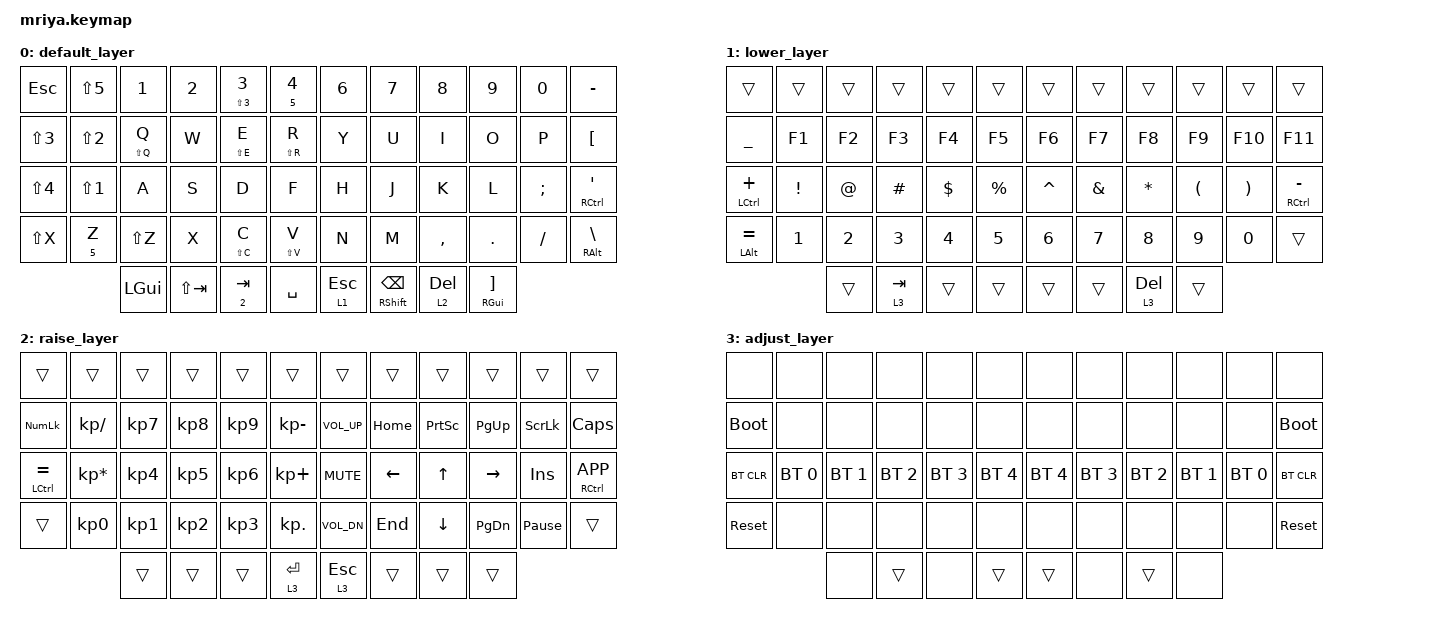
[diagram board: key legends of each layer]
/*
 * Copyright (c) 2023 Andrei Gaevskii
 *
 * SPDX-License-Identifier: MIT
 */

#include <behaviors.dtsi>
#include <dt-bindings/zmk/bt.h>
#include <dt-bindings/zmk/keys.h>

#define DEF 0
#define LWR 1
#define RSE 2
#define ADJ 3

&lt { quick_tap_ms = <200>; };

&mt { quick_tap_ms = <200>; };

/ {
    keymap {
        compatible = "zmk,keymap";

        default_layer {
            bindings = <
  &kp ESCAPE        &kp LS(N5)        &kp NUMBER_1  &kp NUMBER_2  &mt LS(NUMBER_3) NUMBER_3  &mt N5 NUMBER_4    &kp N6     &kp N7          &kp N8     &kp N9                  &kp N0    &kp MINUS
  &kp LS(NUMBER_3)  &kp LS(NUMBER_2)  &mt LS(Q) Q   &kp W         &mt LS(E) E                &mt LS(R) R        &kp Y      &kp U           &kp I      &kp O                   &kp P     &kp LBKT
  &kp LS(NUMBER_4)  &kp LS(NUMBER_1)  &kp A         &kp S         &kp D                      &kp F              &kp H      &kp J           &kp K      &kp L                   &kp SEMI  &mt RCTRL SQT
  &kp LS(X)         &mt N5 Z          &kp LS(Z)     &kp X         &mt LS(C) C                &mt LS(V) V        &kp N      &kp M           &kp COMMA  &kp DOT                 &kp FSLH  &mt RALT BSLH
                                      &kp LGUI      &kp LS(TAB)   &mt NUMBER_2 TAB           &kp SPACE          &lt 1 ESC  &mt RSHFT BSPC  &lt 2 DEL  &mt RGUI RIGHT_BRACKET
            >;
        };

        lower_layer {
            bindings = <
  &trans          &trans    &trans  &trans     &trans    &trans       &trans     &trans    &trans     &trans    &trans    &trans
  &kp UNDER       &kp F1    &kp F2  &kp F3     &kp F4    &kp F5       &kp F6     &kp F7    &kp F8     &kp F9    &kp F10   &kp F11
  &mt LCTRL PLUS  &kp EXCL  &kp AT  &kp HASH   &kp DLLR  &kp PRCNT    &kp CARET  &kp AMPS  &kp STAR   &kp LPAR  &kp RPAR  &mt RCTRL MINUS
  &mt LALT EQUAL  &kp N1    &kp N2  &kp N3     &kp N4    &kp N5       &kp N6     &kp N7    &kp N8     &kp N9    &kp N0    &trans
                            &trans  &lt 3 TAB  &trans    &trans       &trans     &trans    &lt 3 DEL  &trans
            >;
        };

        raise_layer {
            bindings = <
  &trans           &trans           &trans     &trans     &trans     &trans          &trans        &trans    &trans     &trans     &trans           &trans
  &kp KP_NUM       &kp KP_SLASH     &kp KP_N7  &kp KP_N8  &kp KP_N9  &kp KP_MINUS    &kp C_VOL_UP  &kp HOME  &kp PSCRN  &kp PG_UP  &kp SLCK         &kp CAPS
  &mt LCTRL EQUAL  &kp KP_MULTIPLY  &kp KP_N4  &kp KP_N5  &kp KP_N6  &kp KP_PLUS     &kp C_MUTE    &kp LEFT  &kp UP     &kp RIGHT  &kp INS          &mt RCTRL K_APP
  &trans           &kp KP_N0        &kp KP_N1  &kp KP_N2  &kp KP_N3  &kp KP_DOT      &kp C_VOL_DN  &kp END   &kp DOWN   &kp PG_DN  &kp PAUSE_BREAK  &trans
                                    &trans     &trans     &trans     &lt 3 RET       &lt 3 ESC     &trans    &trans     &trans
            >;
        };

        adjust_layer {
            bindings = <
  &none        &none         &none         &none         &none         &none           &none         &none         &none         &none         &none         &none
  &bootloader  &none         &none         &none         &none         &none           &none         &none         &none         &none         &none         &bootloader
  &bt BT_CLR   &bt BT_SEL 0  &bt BT_SEL 1  &bt BT_SEL 2  &bt BT_SEL 3  &bt BT_SEL 4    &bt BT_SEL 4  &bt BT_SEL 3  &bt BT_SEL 2  &bt BT_SEL 1  &bt BT_SEL 0  &bt BT_CLR
  &sys_reset   &none         &none         &none         &none         &none           &none         &none         &none         &none         &none         &sys_reset
                             &none         &trans        &none         &trans          &trans        &none         &trans        &none
            >;
        };
    };
};
